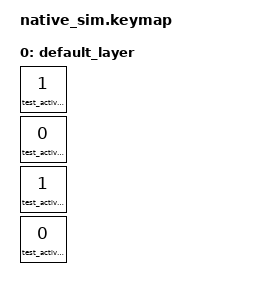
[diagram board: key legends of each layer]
#include <dt-bindings/zmk/keys.h>
#include <dt-bindings/zmk/kscan_mock.h>
#include <dt-bindings/zmk/led_matrix.h>
#include <dt-bindings/led/led.h>
#include <behaviors.dtsi>

/ {
    chosen {
        zmk,kscan = &kscan;
        zmk,led-matrix = &led_matrix;
    };

    behaviors {
        test_activity_state: test_activity_state {
            compatible = "zmk,behavior-raise-activity-state";
            #binding-cells = <1>;
        };
    };

    kscan: native_posix_64_kscan_mock {
        compatible = "zmk,kscan-mock";
        rows = <1>;
        columns = <4>;
        exit-after;
        events = <
            ZMK_MOCK_PRESS(0,0,10)
            ZMK_MOCK_RELEASE(0,0,10)
            ZMK_MOCK_PRESS(0,1,10)
            ZMK_MOCK_RELEASE(0,1,10)
            ZMK_MOCK_PRESS(0,2,10)
            ZMK_MOCK_RELEASE(0,2,10)
            ZMK_MOCK_PRESS(0,3,10)
            ZMK_MOCK_RELEASE(0,3,40)
        >;
    };

    keymap {
        compatible = "zmk,keymap";

        default_layer {
            bindings = <
                &test_activity_state 1
                &test_activity_state 0
                &test_activity_state 1
                &test_activity_state 0
            >;
        };
    };

    EXT_POWER {
        compatible = "zmk,ext-power-generic";
        control-gpios = <&gpio0 0 GPIO_ACTIVE_HIGH>;
    };

    strip_power_child: strip_power_child {
        compatible = "zmk,led-strip-mock";
        chain-length = <1>;
    };

    led_matrix: led_matrix {
        compatible = "zmk,led-matrix";
        led-driver = "strip";
        led-strip-device = <&strip_power_child>;
        led-count = <1>;

        profile0 {
            profile-id = <0>;
            display-name = "Strip Base";
            renderer = "solid";
            colors = <0x102030>;
            brightness = <100>;
            period-ms = <1000>;
        };
    };
};
